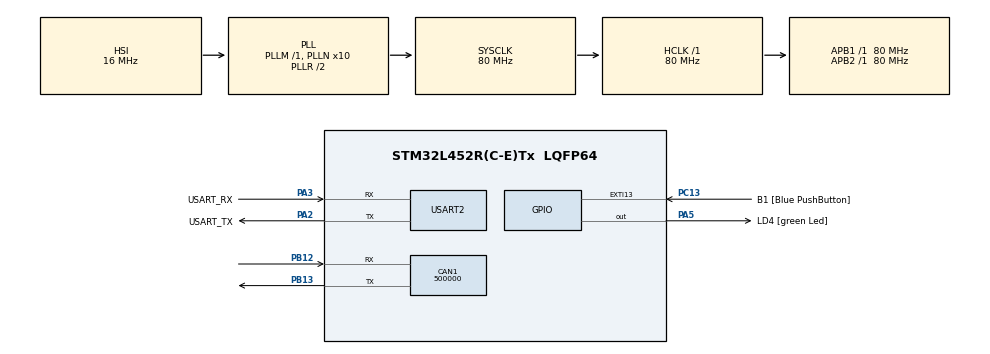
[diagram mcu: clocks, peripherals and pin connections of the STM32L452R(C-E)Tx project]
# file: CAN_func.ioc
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CAN1.BS1=CAN_BS1_4TQ
CAN1.BS2=CAN_BS2_5TQ
CAN1.CalculateBaudRate=500000
CAN1.CalculateTimeBit=2000
CAN1.CalculateTimeQuantum=200.0
Mcu.Family=STM32L4
Mcu.Name=STM32L452R(C-E)Tx
Mcu.Package=LQFP64
NVIC.CAN1_RX0_IRQn=true\:0\:0\:false\:false\:true\:true\:true\:true
NVIC.CAN1_RX1_IRQn=true\:0\:0\:false\:false\:true\:true\:true\:true
NVIC.PriorityGroup=NVIC_PRIORITYGROUP_4
PA13\ (JTMS/SWDIO).GPIO_Label=TMS
PA13\ (JTMS/SWDIO).Mode=Serial_Wire
PA13\ (JTMS/SWDIO).Signal=SYS_JTMS-SWDIO
PA14\ (JTCK/SWCLK).GPIO_Label=TCK
PA14\ (JTCK/SWCLK).Mode=Serial_Wire
PA14\ (JTCK/SWCLK).Signal=SYS_JTCK-SWCLK
PA2.GPIO_Label=USART_TX
PA2.GPIO_Mode=GPIO_MODE_AF_PP
PA2.GPIO_PuPd=GPIO_NOPULL
PA2.GPIO_Speed=GPIO_SPEED_FREQ_VERY_HIGH
PA2.Mode=Asynchronous
PA2.Signal=USART2_TX
PA3.GPIO_Label=USART_RX
PA3.GPIO_Mode=GPIO_MODE_AF_PP
PA3.GPIO_PuPd=GPIO_NOPULL
PA3.GPIO_Speed=GPIO_SPEED_FREQ_VERY_HIGH
PA3.Mode=Asynchronous
PA3.Signal=USART2_RX
PA5.GPIO_Label=LD4 [green Led]
PA5.GPIO_ModeDefaultOutputPP=GPIO_MODE_OUTPUT_PP
PA5.GPIO_PuPd=GPIO_NOPULL
PA5.GPIO_Speed=GPIO_SPEED_FREQ_LOW
PA5.Signal=GPIO_Output
PB12.Mode=CAN_Activate
PB12.Signal=CAN1_RX
PB13.Mode=CAN_Activate
PB13.Signal=CAN1_TX
PB3\ (JTDO/TRACESWO).GPIO_Label=SWO
PB3\ (JTDO/TRACESWO).Signal=SYS_JTDO-SWO
PC13.GPIO_Label=B1 [Blue PushButton]
PC13.GPIO_ModeDefaultEXTI=GPIO_MODE_IT_FALLING
PC13.GPIO_PuPd=GPIO_NOPULL
PC13.Signal=GPXTI13
PC14-OSC32_IN\ (PC14).Mode=LSE-External-Oscillator
PC14-OSC32_IN\ (PC14).Signal=RCC_OSC32_IN
PC15-OSC32_OUT\ (PC15).Mode=LSE-External-Oscillator
PC15-OSC32_OUT\ (PC15).Signal=RCC_OSC32_OUT
PH0-OSC_IN\ (PH0).Mode=HSE-External-Oscillator
PH0-OSC_IN\ (PH0).Signal=RCC_OSC_IN
PH1-OSC_OUT\ (PH1).Mode=HSE-External-Oscillator
PH1-OSC_OUT\ (PH1).Signal=RCC_OSC_OUT
ProjectManager.HeapSize=0x200
ProjectManager.StackSize=0x400
ProjectManager.TargetToolchain=STM32CubeIDE
RCC.ADCFreq_Value=64000000
RCC.AHBFreq_Value=80000000
RCC.APB1Freq_Value=80000000
RCC.APB1TimFreq_Value=80000000
RCC.APB2Freq_Value=80000000
RCC.APB2TimFreq_Value=80000000
RCC.CortexFreq_Value=80000000
RCC.HCLKFreq_Value=80000000
RCC.HSE_VALUE=8000000
RCC.HSI48_VALUE=48000000
RCC.HSI_VALUE=16000000
RCC.MSI_VALUE=4000000
RCC.PLLN=10
RCC.PLLSourceVirtual=RCC_PLLSOURCE_HSI
RCC.PREFETCH_ENABLE=1
RCC.SYSCLKFreq_VALUE=80000000
RCC.SYSCLKSource=RCC_SYSCLKSOURCE_PLLCLK
RCC.USBFreq_Value=64000000
RCC.VCOOutputFreq_Value=160000000
USART2.VirtualMode-Asynchronous=VM_ASYNC
board=NUCLEO-L452RE

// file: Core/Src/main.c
/* USER CODE BEGIN Header */
/**
  ******************************************************************************
  * @file           : main.c
  * @brief          : Main program body
  ******************************************************************************
  * @attention
  *
  * Copyright (c) 2022 STMicroelectronics.
  * All rights reserved.
  *
  * This software is licensed under terms that can be found in the LICENSE file
  * in the root directory of this software component.
  * If no LICENSE file comes with this software, it is provided AS-IS.
  *
  ******************************************************************************
  */
/* USER CODE END Header */
#include "main.h"
#include "can.h"
#include "usart.h"
#include "gpio.h"

/* USER CODE BEGIN PV */
CAN_TxHeaderTypeDef CAN_TXH;
CAN_RxHeaderTypeDef CAN_RXH;
CAN_FilterTypeDef filtername;
uint32_t Mailbox;
uint8_t CAN_TX_Data_8[8] = {0};
uint8_t CAN_RX_Data_8[8] = {0};

/* USER CODE END PV */

void SystemClock_Config(void);
/* USER CODE BEGIN PFP */
void CAN_RX_Header_defunc()
{
	 filtername.FilterActivation = CAN_FILTER_ENABLE; // filter on,off
	 filtername.FilterBank = 1; // filterbank initialize single can = 0~13, dual can = 0~27
	 filtername.FilterFIFOAssignment =CAN_FILTER_FIFO0; // fifo assgin 0 or 1
	 filtername.FilterIdHigh = 0x0000; //
	 filtername.FilterIdLow = 0x0000;
	 filtername.FilterMaskIdHigh = 0x0000;
	 filtername.FilterMaskIdLow = 0x0000;
	 filtername.FilterMode = CAN_FILTERMODE_IDMASK;  // filter mode -> mask or list
	 filtername.FilterScale = CAN_FILTERSCALE_16BIT; // filter scale
	 // filtername.SlaveStartFilterBank // only dual can

	 HAL_CAN_ConfigFilter(&hcan1,&filtername);
}
void CAN_TX_Header_defunc()
{
	 CAN_TXH.DLC=8;
	 CAN_TXH.IDE = CAN_ID_STD;
	 CAN_TXH.RTR = CAN_RTR_DATA;
	 CAN_TXH.StdId = 0x101;
	 CAN_TXH.TransmitGlobalTime = DISABLE;
}

void CAN_Error_Handler()
{
	if (HAL_CAN_ConfigFilter(&hcan1, &filtername) != HAL_OK)
	  {
	    /* Filter configuration Error */
	    Error_Handler();
	  }

	  /* Can Start */
	  if (HAL_CAN_Start(&hcan1) != HAL_OK)
	  {
	    /* Start Error */
	    Error_Handler();
	  }

	  /* Activate CAN RX notification */
	  if (HAL_CAN_ActivateNotification(&hcan1, CAN_IT_RX_FIFO0_MSG_PENDING) != HAL_OK)
	  {
	    /* Notification Error */
	    Error_Handler();
	  }
}
void callbackSystick() //1ms count
	{
	   static int count=0;
	   count ++;
	   if(count == 10)  //10ms send can tx message
	   {
		   if(HAL_CAN_GetTxMailboxesFreeLevel(&hcan1))
		   	  {
		   		  HAL_CAN_AddTxMessage(&hcan1,&CAN_TXH,CAN_TX_Data_8,&Mailbox);
		   	  }
		   count = 0;
	   }
	}
void HAL_CAN_RxFifo0MsgPendingCallback(CAN_HandleTypeDef *CanHandle)
{
  /* Get RX message */
  if (HAL_CAN_GetRxMessage(CanHandle, CAN_RX_FIFO0, &CAN_RXH, CAN_RX_Data_8) != HAL_OK)
  {
    /* Reception Error */
    Error_Handler();
  }

  if(CAN_RXH.StdId == 0x00)
    {

    }
  if(CAN_RXH.StdId == 0x00)
    {

    }
  if(CAN_RXH.StdId == 0x00)
    {

    }
  if(CAN_RXH.StdId == 0x00)
    {

    }
  if(CAN_RXH.StdId == 0x00)
    {

    }
  if(CAN_RXH.StdId == 0x00)
    {

    }

}

/* USER CODE END PFP */

int main(void)
{

  /* MCU Configuration--------------------------------------------------------*/

  /* Reset of all peripherals, Initializes the Flash interface and the Systick. */
  HAL_Init();

  /* Configure the system clock */
  SystemClock_Config();

  /* Initialize all configured peripherals */
  MX_GPIO_Init();
  MX_USART2_UART_Init();
  MX_CAN1_Init();
  /* USER CODE BEGIN 2 */

  HAL_CAN_Start(&hcan1);
  CAN_RX_Header_defunc();
  CAN_TX_Header_defunc();
  CAN_Error_Handler();

  /* USER CODE END 2 */

  /* Infinite loop */
  while (1)
  {

  }
}

void SystemClock_Config(void)
{
  RCC_OscInitTypeDef RCC_OscInitStruct = {0};
  RCC_ClkInitTypeDef RCC_ClkInitStruct = {0};

  /** Configure the main internal regulator output voltage
  */
  if (HAL_PWREx_ControlVoltageScaling(PWR_REGULATOR_VOLTAGE_SCALE1) != HAL_OK)
  {
    Error_Handler();
  }

  /** Initializes the RCC Oscillators according to the specified parameters
  * in the RCC_OscInitTypeDef structure.
  */
  RCC_OscInitStruct.OscillatorType = RCC_OSCILLATORTYPE_HSI;
  RCC_OscInitStruct.HSIState = RCC_HSI_ON;
  RCC_OscInitStruct.HSICalibrationValue = RCC_HSICALIBRATION_DEFAULT;
  RCC_OscInitStruct.PLL.PLLState = RCC_PLL_ON;
  RCC_OscInitStruct.PLL.PLLSource = RCC_PLLSOURCE_HSI;
  RCC_OscInitStruct.PLL.PLLM = 1;
  RCC_OscInitStruct.PLL.PLLN = 10;
  RCC_OscInitStruct.PLL.PLLP = RCC_PLLP_DIV7;
  RCC_OscInitStruct.PLL.PLLQ = RCC_PLLQ_DIV2;
  RCC_OscInitStruct.PLL.PLLR = RCC_PLLR_DIV2;
  if (HAL_RCC_OscConfig(&RCC_OscInitStruct) != HAL_OK)
  {
    Error_Handler();
  }

  /** Initializes the CPU, AHB and APB buses clocks
  */
  RCC_ClkInitStruct.ClockType = RCC_CLOCKTYPE_HCLK|RCC_CLOCKTYPE_SYSCLK
                              |RCC_CLOCKTYPE_PCLK1|RCC_CLOCKTYPE_PCLK2;
  RCC_ClkInitStruct.SYSCLKSource = RCC_SYSCLKSOURCE_PLLCLK;
  RCC_ClkInitStruct.AHBCLKDivider = RCC_SYSCLK_DIV1;
  RCC_ClkInitStruct.APB1CLKDivider = RCC_HCLK_DIV1;
  RCC_ClkInitStruct.APB2CLKDivider = RCC_HCLK_DIV1;

  if (HAL_RCC_ClockConfig(&RCC_ClkInitStruct, FLASH_LATENCY_4) != HAL_OK)
  {
    Error_Handler();
  }
}

void Error_Handler(void)
{
  __disable_irq();
  while (1)
  {
  }
}
